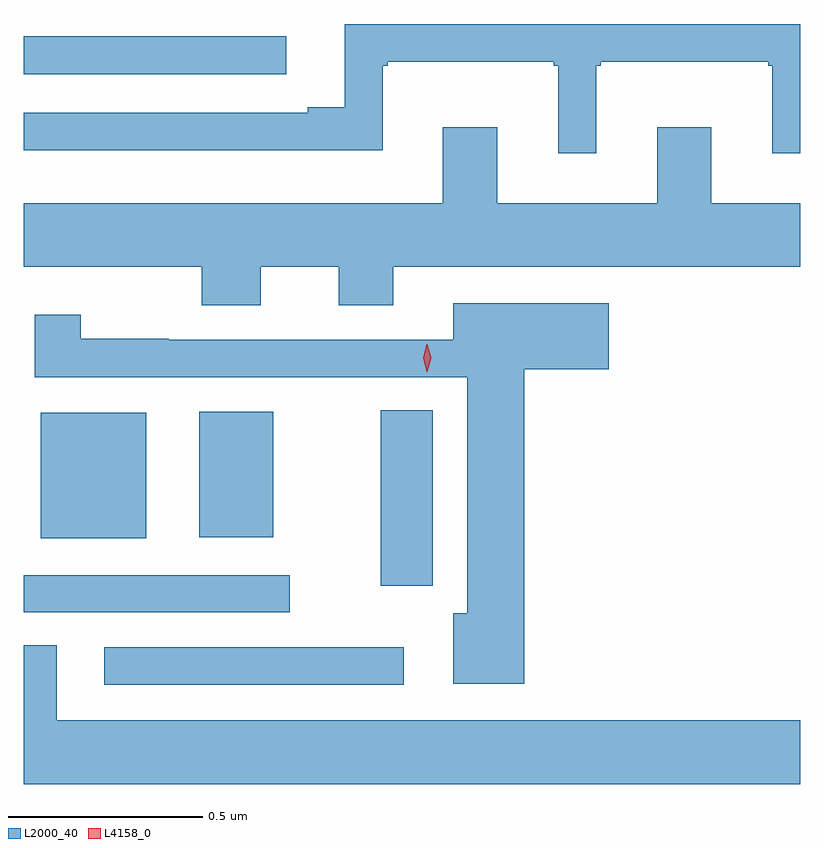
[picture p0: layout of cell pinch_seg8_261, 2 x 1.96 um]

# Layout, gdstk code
import gdstk
lib = gdstk.Library(unit=1e-6, precision=1e-09)
def R(c, l, rs):  # rectangles x0, y0, x1, y1
    for r in rs: c.add(gdstk.rectangle(r[:2], r[2:], *l))
def P(c, l, *ps):  # polygons
    for p in ps: c.add(gdstk.Polygon(p, *l))
L2000_40 = (2000, 40)
L4158_0 = (4158, 0)

pinch_seg8_261 = lib.new_cell('pinch_seg8_261')
R(pinch_seg8_261, L2000_40, [(494.973,1150.056,495.745,1150.152), (494.766,1150.242,495.451,1150.338), (495.686,1150.311,495.82,1150.763), (494.81,1150.433,495.082,1150.756), (495.218,1150.436,495.409,1150.759), (494.766,1151.628,495.442,1151.726)])
P(pinch_seg8_261, L2000_40, [(496.24,1151.649),(496.252,1151.649),(496.252,1151.66),(496.683,1151.66),(496.683,1151.649),(496.694,1151.649),(496.694,1151.424),(496.766,1151.424),(496.766,1151.757),(495.593,1151.757),(495.593,1151.542),(495.497,1151.542),(495.497,1151.529),(494.766,1151.529),(494.766,1151.432),(495.691,1151.432),(495.691,1151.649),(495.703,1151.649),(495.703,1151.66),(496.131,1151.66),(496.131,1151.649),(496.142,1151.649),(496.142,1151.424),(496.24,1151.424)],
  [(495.376,1151.132),(495.578,1151.132),(495.578,1151.033),(495.718,1151.033),(495.718,1151.132),(496.766,1151.132),(496.766,1151.296),(496.537,1151.296),(496.537,1151.491),(496.397,1151.491),(496.397,1151.296),(495.985,1151.296),(495.985,1151.491),(495.845,1151.491),(495.845,1151.296),(494.766,1151.296),(494.766,1151.132),(495.224,1151.132),(495.224,1151.033),(495.376,1151.033)],
  [(496.055,1150.868),(496.273,1150.868),(496.273,1151.038),(495.872,1151.038),(495.872,1150.944),(495.14,1150.944),(495.14,1150.946),(494.913,1150.946),(494.913,1151.008),(494.795,1151.008),(494.795,1150.848),(495.908,1150.848),(495.908,1150.24),(495.872,1150.24),(495.872,1150.058),(496.055,1150.058)],
  [(496.766,1149.964),(494.851,1149.964),(494.851,1150.157),(494.766,1150.157),(494.766,1149.8),(496.766,1149.8)])
P(pinch_seg8_261, L4158_0, [(495.805,1150.861),(495.804,1150.862),(495.795,1150.897),(495.804,1150.932),(495.805,1150.933),(495.805,1150.932),(495.815,1150.897),(495.805,1150.862)])

lib.write_gds('pinch_seg8_261.gds')
